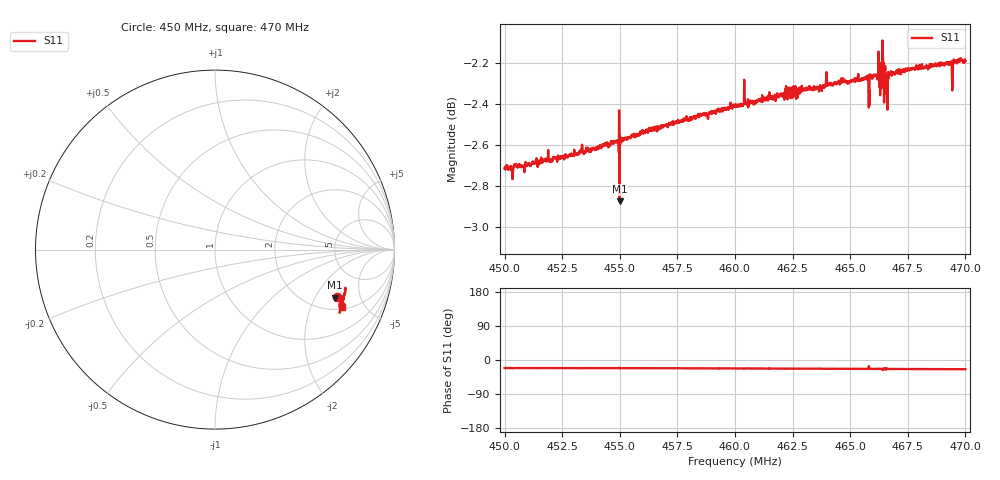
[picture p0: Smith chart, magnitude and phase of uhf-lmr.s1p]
! Calibrated averaged scanner-service zoom
# Hz S RI R 50
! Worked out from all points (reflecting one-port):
!   2001 points, 450 MHz to 470 MHz, reference 50 ohm
!   lowest |S11| = -2.9 dB at 454.99 MHz (marker M1), VSWR 6.10, Z = 132 - j146 ohm
!   phase of S11 starts at -21 deg and turns -3 deg over the sweep
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4.5e8  0.6821 -0.2645
4.5027e8  0.683 -0.2653
4.5048e8  0.6837 -0.2656
4.525e8  0.6863 -0.2672
4.5499e8  0.6662 -0.2686
4.55e8  0.6913 -0.2788
4.551e8  0.692 -0.2722
4.575e8  0.6972 -0.279
4.6e8  0.7023 -0.2861
4.6046e8  0.7016 -0.2893
4.6052e8  0.7012 -0.2883
4.6067e8  0.7025 -0.289
4.6217e8  0.7037 -0.295
4.625e8  0.7046 -0.2941
4.65e8  0.7056 -0.304
4.6568e8  0.7065 -0.3059
4.6569e8  0.7056 -0.3064
4.6573e8  0.7068 -0.3065
4.6589e8  0.7058 -0.3073
4.659e8  0.7063 -0.3072
4.6594e8  0.7062 -0.307
4.6629e8  0.7064 -0.3089
4.6634e8  0.7018 -0.3049
4.6646e8  0.708 -0.3054
4.6656e8  0.6933 -0.3181
4.6677e8  0.7078 -0.3097
4.675e8  0.7076 -0.3126
4.7e8  0.7082 -0.3198
